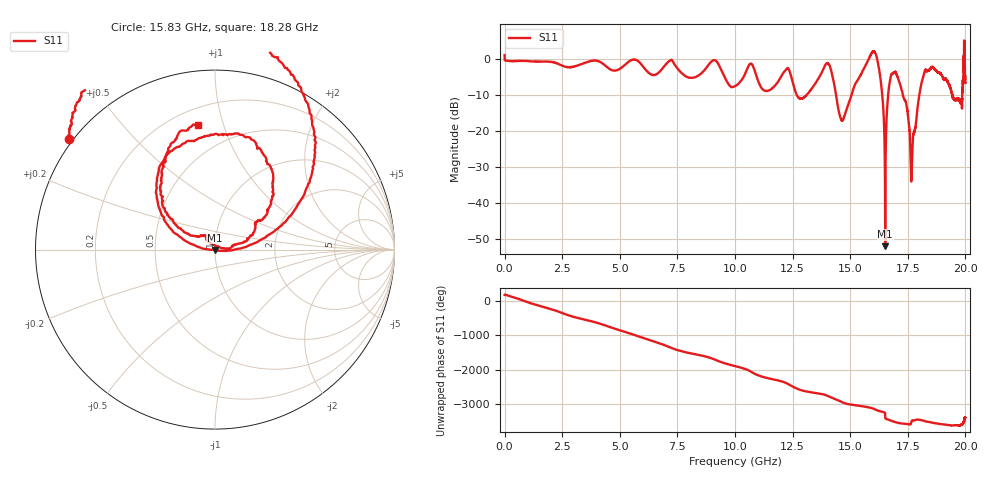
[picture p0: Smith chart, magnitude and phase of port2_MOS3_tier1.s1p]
! Created with skrf 1.8.0 (http://scikit-rf.org).
# GHz S RI R 50.0
!freq ReS11 ImS11
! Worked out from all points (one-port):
!   10001 points, 1 MHz to 20 GHz, reference 50 ohm
!   lowest |S11| = -51.8 dB at 16.52 GHz (marker M1), VSWR 1.01, Z = 49.8 - j0.182 ohm
!   |S11| at or under -10 dB: 12.67 GHz to 13.12 GHz (442.2 MHz wide, 3.43 % of centre); 14.38 GHz to 15.06 GHz (679.6 MHz wide, 4.62 % of centre); 17.28 GHz to 18 GHz (718.9 MHz wide, 4.07 % of centre) (the widest 3 of 7)
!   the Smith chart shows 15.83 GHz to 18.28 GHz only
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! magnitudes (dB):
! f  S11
! 1 MHz  1.0
! 2.501 GHz  -2.0
! 5.001 GHz  -2.8
! 7.501 GHz  -2.7
! 8.205 GHz  -5.3
! 9.127 GHz  -0.4
! 10 GHz  -7.6
! 10.68 GHz  -1.4
! 11.3 GHz  -8.9
! 12.25 GHz  -2.8
! 12.5 GHz  -6.5
! 12.94 GHz  -11.0
! 14.02 GHz  -1.3
! 14.61 GHz  -16.8
! 15 GHz  -11.2
! 16.05 GHz  1.9
! 16.3 GHz  -4.8
! 16.52 GHz  -51.8
! 16.7 GHz  -7.1
! 16.87 GHz  -3.9
! 17.5 GHz  -15.5
! 17.6 GHz  -22.8
! 17.69 GHz  -26.6
! 18.02 GHz  -9.4
! 18.26 GHz  -3.2
! 18.9 GHz  -4.0
! 19.76 GHz  -11.6
! 20 GHz  -6.7
